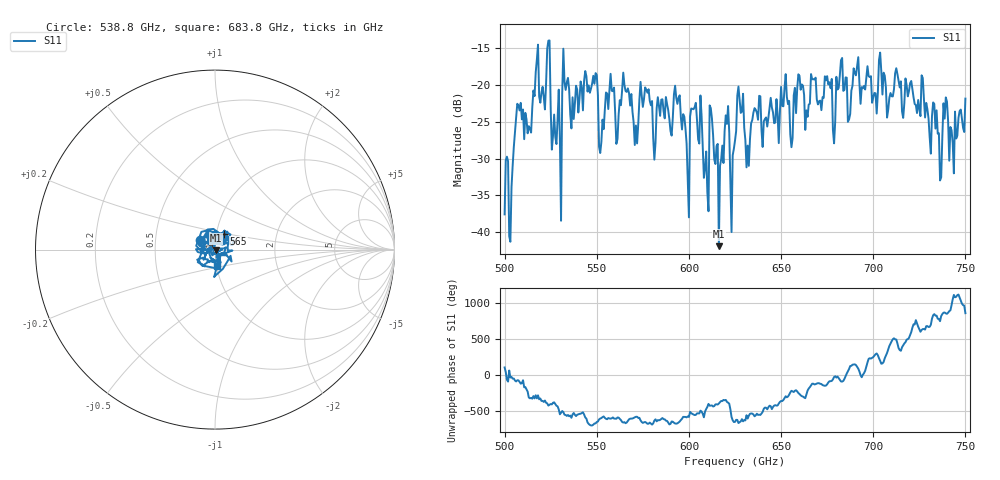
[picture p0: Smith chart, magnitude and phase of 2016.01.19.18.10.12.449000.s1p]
!Created with skrf (http://scikit-rf.org).
# GHz S RI R 50.0
!freq ReS11 ImS11
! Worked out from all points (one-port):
!   401 points, 500 GHz to 750 GHz, reference 50 ohm
!   lowest |S11| = -41.9 dB at 616.2 GHz (marker M1), VSWR 1.02, Z = 50.6 - j0.498 ohm
!   |S11| at or under -10 dB: start of sweep to end of sweep
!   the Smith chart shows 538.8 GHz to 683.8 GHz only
!   S11 on the Smith chart (normalised r, x): 538.8 GHz: 0.84, +0.09; 565 GHz: 1.08, +0.19; 683.8 GHz: 1.01, -0.18
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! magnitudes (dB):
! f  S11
! 500 GHz  -37.6
! 516.9 GHz  -18.3
! 523.8 GHz  -14.0
! 526.9 GHz  -24.0
! 531.2 GHz  -21.2
! 533.1 GHz  -20.7
! 538.8 GHz  -20.1
! 562.5 GHz  -22.1
! 565 GHz  -20.0
! 571.2 GHz  -25.5
! 593.8 GHz  -22.6
! 598.8 GHz  -28.0
! 602.5 GHz  -23.3
! 609.4 GHz  -29.0
! 612.5 GHz  -24.6
! 616.2 GHz  -41.9
! 625 GHz  -27.6
! 628.1 GHz  -23.8
! 631.9 GHz  -28.2
! 656.2 GHz  -27.2
! 683.8 GHz  -20.8
! 687.5 GHz  -23.9
! 690.6 GHz  -18.7
! 718.8 GHz  -21.5
! 736.2 GHz  -33.0
! 739.4 GHz  -21.7
! 742.5 GHz  -26.1
! 750 GHz  -21.8
